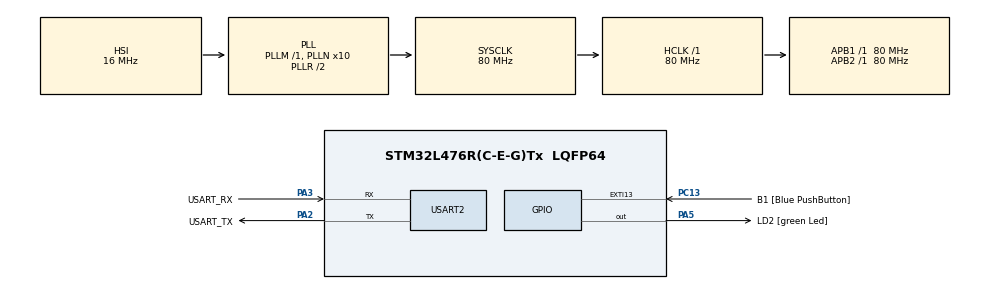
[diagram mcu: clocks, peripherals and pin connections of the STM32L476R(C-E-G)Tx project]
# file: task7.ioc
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Mcu.Family=STM32L4
Mcu.Name=STM32L476R(C-E-G)Tx
Mcu.Package=LQFP64
NVIC.PriorityGroup=NVIC_PRIORITYGROUP_4
PA13\ (JTMS-SWDIO).GPIO_Label=TMS
PA13\ (JTMS-SWDIO).Mode=Serial_Wire
PA13\ (JTMS-SWDIO).Signal=SYS_JTMS-SWDIO
PA14\ (JTCK-SWCLK).GPIO_Label=TCK
PA14\ (JTCK-SWCLK).Mode=Serial_Wire
PA14\ (JTCK-SWCLK).Signal=SYS_JTCK-SWCLK
PA2.GPIO_Label=USART_TX
PA2.GPIO_Mode=GPIO_MODE_AF_PP
PA2.GPIO_PuPd=GPIO_NOPULL
PA2.GPIO_Speed=GPIO_SPEED_FREQ_VERY_HIGH
PA2.Mode=Asynchronous
PA2.Signal=USART2_TX
PA3.GPIO_Label=USART_RX
PA3.GPIO_Mode=GPIO_MODE_AF_PP
PA3.GPIO_PuPd=GPIO_NOPULL
PA3.GPIO_Speed=GPIO_SPEED_FREQ_VERY_HIGH
PA3.Mode=Asynchronous
PA3.Signal=USART2_RX
PA5.GPIO_Label=LD2 [green Led]
PA5.GPIO_ModeDefaultOutputPP=GPIO_MODE_OUTPUT_PP
PA5.GPIO_PuPd=GPIO_NOPULL
PA5.GPIO_Speed=GPIO_SPEED_FREQ_LOW
PA5.Signal=GPIO_Output
PB3\ (JTDO-TRACESWO).GPIO_Label=SWO
PB3\ (JTDO-TRACESWO).Signal=SYS_JTDO-SWO
PC13.GPIO_Label=B1 [Blue PushButton]
PC13.GPIO_ModeDefaultEXTI=GPIO_MODE_IT_FALLING
PC13.GPIO_PuPd=GPIO_NOPULL
PC13.Signal=GPXTI13
PC14-OSC32_IN\ (PC14).Mode=LSE-External-Oscillator
PC14-OSC32_IN\ (PC14).Signal=RCC_OSC32_IN
PC15-OSC32_OUT\ (PC15).Mode=LSE-External-Oscillator
PC15-OSC32_OUT\ (PC15).Signal=RCC_OSC32_OUT
PH0-OSC_IN\ (PH0).Signal=RCC_OSC_IN
PH1-OSC_OUT\ (PH1).Signal=RCC_OSC_OUT
ProjectManager.HeapSize=0x200
ProjectManager.StackSize=0x400
ProjectManager.TargetToolchain=STM32CubeIDE
RCC.ADCFreq_Value=64000000
RCC.AHBFreq_Value=80000000
RCC.APB1Freq_Value=80000000
RCC.APB1TimFreq_Value=80000000
RCC.APB2Freq_Value=80000000
RCC.APB2TimFreq_Value=80000000
RCC.CortexFreq_Value=80000000
RCC.HCLKFreq_Value=80000000
RCC.HSE_VALUE=8000000
RCC.HSI_VALUE=16000000
RCC.MSI_VALUE=4000000
RCC.PLLN=10
RCC.PLLSourceVirtual=RCC_PLLSOURCE_HSI
RCC.PREFETCH_ENABLE=1
RCC.SYSCLKFreq_VALUE=80000000
RCC.SYSCLKSource=RCC_SYSCLKSOURCE_PLLCLK
RCC.USBFreq_Value=64000000
RCC.VCOOutputFreq_Value=160000000
USART2.VirtualMode-Asynchronous=VM_ASYNC
board=NUCLEO-L476RG

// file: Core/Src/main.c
/* USER CODE BEGIN Header */
/**
  ******************************************************************************
  * @file           : main.c
  * @brief          : Main program body
  ******************************************************************************
  * @attention
  *
  * Copyright (c) 2022 STMicroelectronics.
  * All rights reserved.
  *
  * This software is licensed under terms that can be found in the LICENSE file
  * in the root directory of this software component.
  * If no LICENSE file comes with this software, it is provided AS-IS.
  *
  ******************************************************************************
  */
/* USER CODE END Header */
#include "main.h"

/* USER CODE BEGIN Includes */
#include <stdio.h>
#include <string.h>
#include <stdlib.h>
/* USER CODE END Includes */

 UART_HandleTypeDef huart2;

void SystemClock_Config(void);
static void MX_GPIO_Init(void);
static void MX_USART2_UART_Init(void);

/* USER CODE BEGIN 0 */

/////////////////////////////////////////////////////////////////////////
// REdirecting printf to UART
/////////////////////////////////////////////////////////////////////////
int _write(int fd, char* ptr, int len)
{
    HAL_UART_Transmit(&huart2, (uint8_t *) ptr, len, HAL_MAX_DELAY);
    return len;
}

uint32_t GLOBAL_UNI_VARIABEL;
uint32_t GLOBAL_INI_VARIABEL = 10;
static uint32_t staticInVeriable = 5;

void memoryMapping(void)
{
	static uint32_t funStatVar=8;
	uint32_t funRegVar;
	char *str = "hello";
	int* ptr1 = malloc (sizeof(int));

	printf("GLOBAL_UNI_VARIABEL=%p\n\r GLOBAL_INI_VARIABEL=%p\n\r funStatVar= %p\n\r funRegVar= %p\n\r str = %p\n\r ptr1=%p\n\r staticInVeriable= %p\n\r ", &GLOBAL_UNI_VARIABEL, &GLOBAL_INI_VARIABEL,  &funStatVar , &funRegVar, &str , &ptr1 ,&staticInVeriable );
	printf("\n\n");
	HAL_Delay(5000);
}

/* USER CODE END 0 */

int main(void)
{

  /* MCU Configuration--------------------------------------------------------*/

  /* Reset of all peripherals, Initializes the Flash interface and the Systick. */
  HAL_Init();

  /* Configure the system clock */
  SystemClock_Config();

  /* Initialize all configured peripherals */
  MX_GPIO_Init();
  MX_USART2_UART_Init();

  /* Infinite loop */
  while (1)
  {
	  memoryMapping ();
  }
}

void SystemClock_Config(void)
{
  RCC_OscInitTypeDef RCC_OscInitStruct = {0};
  RCC_ClkInitTypeDef RCC_ClkInitStruct = {0};

  /** Configure the main internal regulator output voltage
  */
  if (HAL_PWREx_ControlVoltageScaling(PWR_REGULATOR_VOLTAGE_SCALE1) != HAL_OK)
  {
    Error_Handler();
  }

  /** Initializes the RCC Oscillators according to the specified parameters
  * in the RCC_OscInitTypeDef structure.
  */
  RCC_OscInitStruct.OscillatorType = RCC_OSCILLATORTYPE_HSI;
  RCC_OscInitStruct.HSIState = RCC_HSI_ON;
  RCC_OscInitStruct.HSICalibrationValue = RCC_HSICALIBRATION_DEFAULT;
  RCC_OscInitStruct.PLL.PLLState = RCC_PLL_ON;
  RCC_OscInitStruct.PLL.PLLSource = RCC_PLLSOURCE_HSI;
  RCC_OscInitStruct.PLL.PLLM = 1;
  RCC_OscInitStruct.PLL.PLLN = 10;
  RCC_OscInitStruct.PLL.PLLP = RCC_PLLP_DIV7;
  RCC_OscInitStruct.PLL.PLLQ = RCC_PLLQ_DIV2;
  RCC_OscInitStruct.PLL.PLLR = RCC_PLLR_DIV2;
  if (HAL_RCC_OscConfig(&RCC_OscInitStruct) != HAL_OK)
  {
    Error_Handler();
  }

  /** Initializes the CPU, AHB and APB buses clocks
  */
  RCC_ClkInitStruct.ClockType = RCC_CLOCKTYPE_HCLK|RCC_CLOCKTYPE_SYSCLK
                              |RCC_CLOCKTYPE_PCLK1|RCC_CLOCKTYPE_PCLK2;
  RCC_ClkInitStruct.SYSCLKSource = RCC_SYSCLKSOURCE_PLLCLK;
  RCC_ClkInitStruct.AHBCLKDivider = RCC_SYSCLK_DIV1;
  RCC_ClkInitStruct.APB1CLKDivider = RCC_HCLK_DIV1;
  RCC_ClkInitStruct.APB2CLKDivider = RCC_HCLK_DIV1;

  if (HAL_RCC_ClockConfig(&RCC_ClkInitStruct, FLASH_LATENCY_4) != HAL_OK)
  {
    Error_Handler();
  }
}

static void MX_USART2_UART_Init(void)
{

  huart2.Instance = USART2;
  huart2.Init.BaudRate = 115200;
  huart2.Init.WordLength = UART_WORDLENGTH_8B;
  huart2.Init.StopBits = UART_STOPBITS_1;
  huart2.Init.Parity = UART_PARITY_NONE;
  huart2.Init.Mode = UART_MODE_TX_RX;
  huart2.Init.HwFlowCtl = UART_HWCONTROL_NONE;
  huart2.Init.OverSampling = UART_OVERSAMPLING_16;
  huart2.Init.OneBitSampling = UART_ONE_BIT_SAMPLE_DISABLE;
  huart2.AdvancedInit.AdvFeatureInit = UART_ADVFEATURE_NO_INIT;
  if (HAL_UART_Init(&huart2) != HAL_OK)
  {
    Error_Handler();
  }

}

static void MX_GPIO_Init(void)
{
  GPIO_InitTypeDef GPIO_InitStruct = {0};

  /* GPIO Ports Clock Enable */
  __HAL_RCC_GPIOC_CLK_ENABLE();
  __HAL_RCC_GPIOH_CLK_ENABLE();
  __HAL_RCC_GPIOA_CLK_ENABLE();
  __HAL_RCC_GPIOB_CLK_ENABLE();

  /*Configure GPIO pin Output Level */
  HAL_GPIO_WritePin(LD2_GPIO_Port, LD2_Pin, GPIO_PIN_RESET);

  /*Configure GPIO pin : B1_Pin */
  GPIO_InitStruct.Pin = B1_Pin;
  GPIO_InitStruct.Mode = GPIO_MODE_IT_FALLING;
  GPIO_InitStruct.Pull = GPIO_NOPULL;
  HAL_GPIO_Init(B1_GPIO_Port, &GPIO_InitStruct);

  /*Configure GPIO pin : LD2_Pin */
  GPIO_InitStruct.Pin = LD2_Pin;
  GPIO_InitStruct.Mode = GPIO_MODE_OUTPUT_PP;
  GPIO_InitStruct.Pull = GPIO_NOPULL;
  GPIO_InitStruct.Speed = GPIO_SPEED_FREQ_LOW;
  HAL_GPIO_Init(LD2_GPIO_Port, &GPIO_InitStruct);

}

void Error_Handler(void)
{
  __disable_irq();
  while (1)
  {
  }
}
